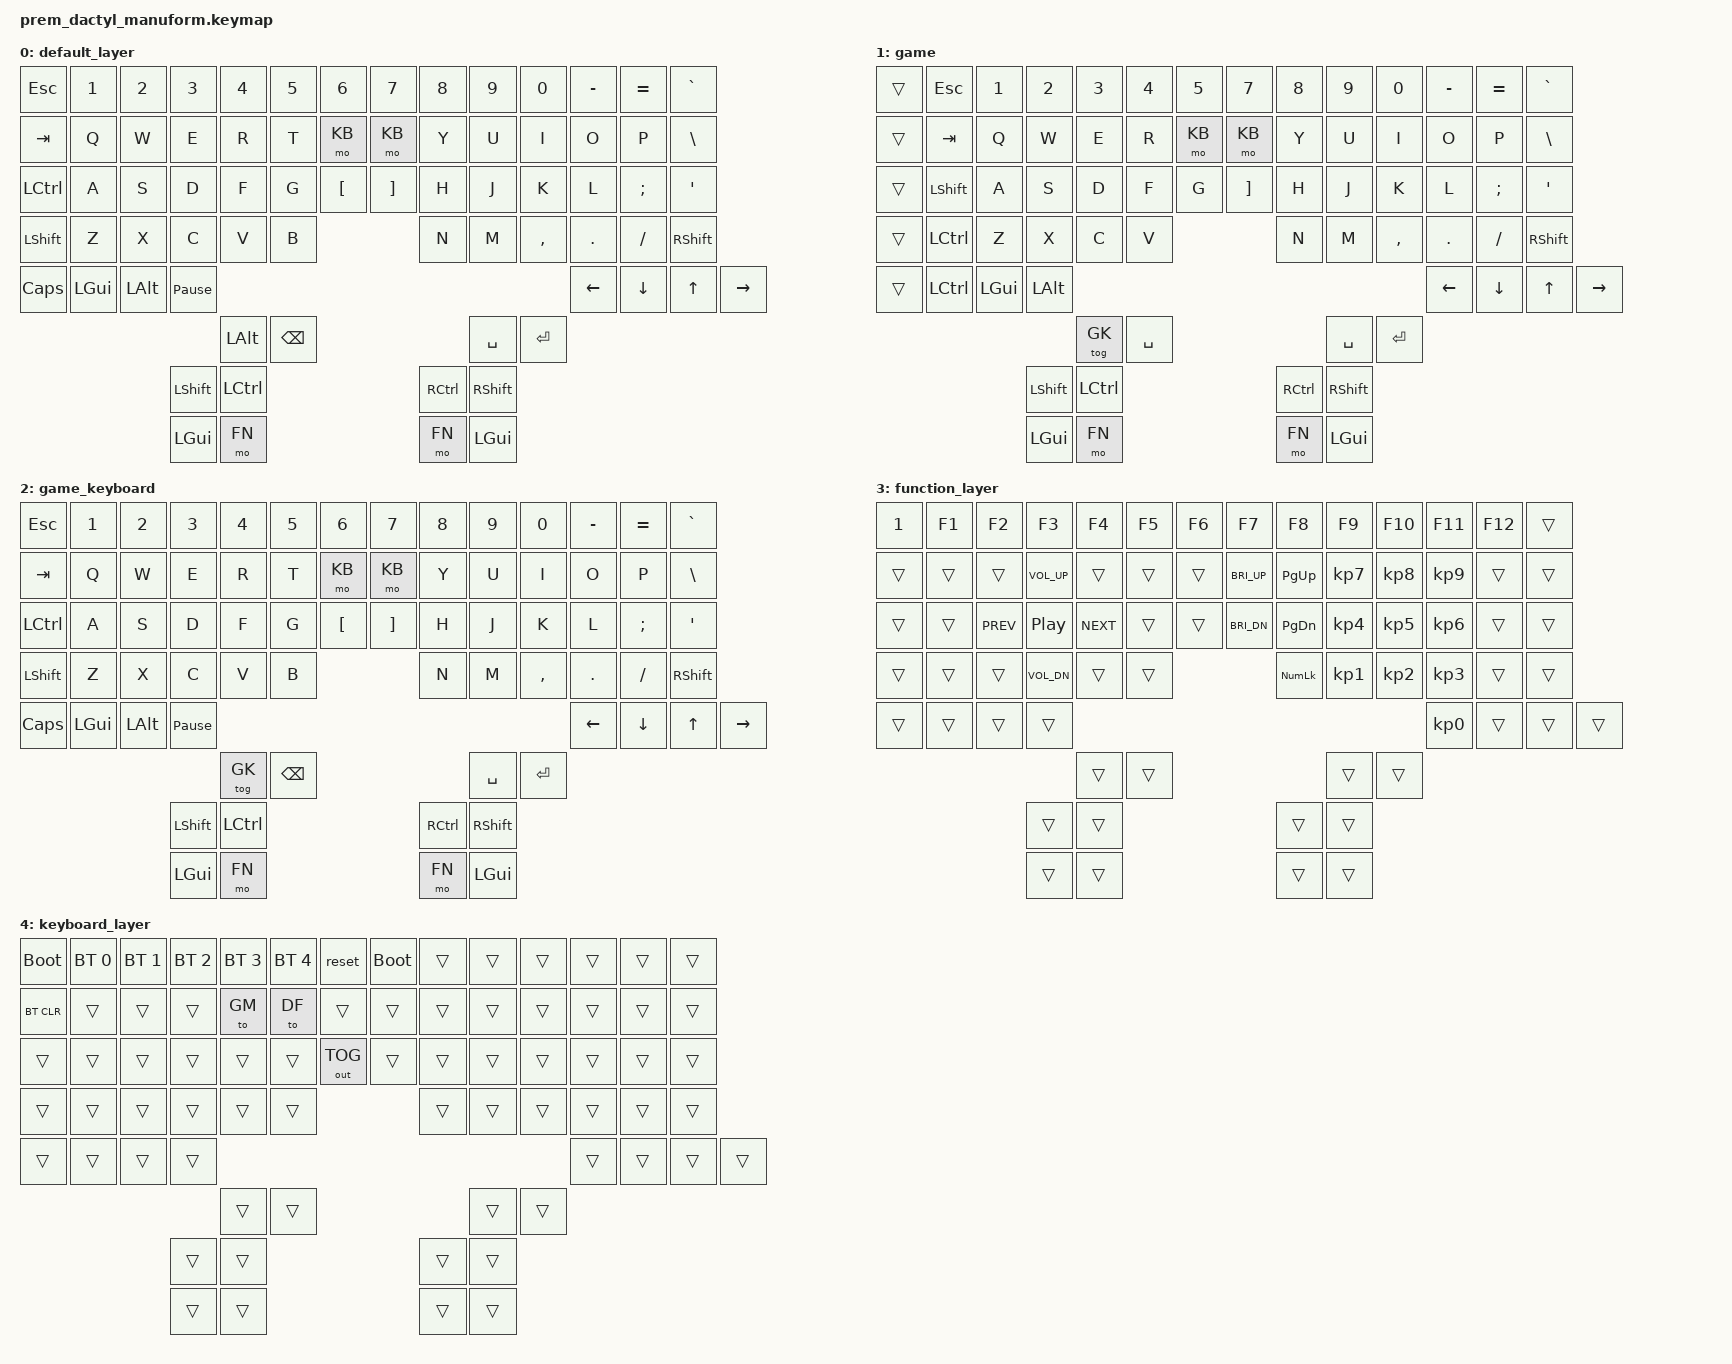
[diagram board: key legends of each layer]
/*
 * Copyright (c) 2020 The ZMK Contributors
 *
 * SPDX-License-Identifier: MIT
 */

#include <behaviors.dtsi>
#include <dt-bindings/zmk/keys.h>
#include <dt-bindings/zmk/bt.h>
#include <dt-bindings/zmk/outputs.h>

#define DF 0
#define GM 1
#define GK 2
#define FN 3
#define KB 4

/ {
        keymap {
                compatible = "zmk,keymap";

                default_layer {
                        bindings = <
&kp ESC    &kp N1    &kp N2    &kp N3  &kp N4    &kp N5    &kp N6          &kp N7    &kp N8    &kp N9    &kp N0    &kp MINUS &kp EQUAL &kp GRAVE
&kp TAB    &kp Q     &kp W     &kp E   &kp R     &kp T     &mo KB          &mo KB    &kp Y     &kp U     &kp I     &kp O     &kp P     &kp BSLH
&kp LCTRL  &kp A     &kp S     &kp D   &kp F     &kp G     &kp LBKT        &kp RBKT  &kp H     &kp J     &kp K     &kp L     &kp SEMI  &kp SQT
&kp LSHFT  &kp Z     &kp X     &kp C   &kp V     &kp B		                           &kp N     &kp M     &kp COMMA &kp DOT   &kp SLASH &kp RSHFT
&kp CAPS   &kp LGUI  &kp LALT  &kp PAUSE_BREAK					                                                 &kp LEFT  &kp DOWN  &kp UP    &kp RIGHT
			                         &kp LALT  &kp BSPC                                    &kp SPACE &kp ENTER
                               &kp LSHFT &kp LCTRL                                   &kp RCTRL &kp RSHFT
                               &kp LGUI  &mo FN	                                     &mo FN    &kp LGUI
                        >;
                };
                game {
                        bindings = <
&trans  &kp ESC    &kp N1    &kp N2    &kp N3  &kp N4    &kp N5                &kp N7   &kp N8   &kp N9   &kp N0    &kp MINUS &kp EQUAL &kp GRAVE
&trans  &kp TAB    &kp Q     &kp W     &kp E   &kp R     &mo KB                &mo KB   &kp Y    &kp U    &kp I     &kp O     &kp P     &kp BSLH
&trans  &kp LSHFT  &kp A     &kp S     &kp D   &kp F     &kp G                 &kp RBKT &kp H    &kp J    &kp K     &kp L     &kp SEMI  &kp SQT
&trans  &kp LCTRL  &kp Z     &kp X     &kp C   &kp V		                        &kp N    &kp M    &kp COMMA &kp DOT   &kp SLASH &kp RSHFT
&trans  &kp LCTRL  &kp LGUI  &kp LALT	      			 	                                  &kp LEFT  &kp DOWN  &kp UP    &kp RIGHT
			               &tog GK &kp SPACE                       &kp SPACE &kp ENTER
                                       &kp LSHFT &kp LCTRL                      &kp RCTRL &kp RSHFT
                                       &kp LGUI  &mo FN	                        &mo FN    &kp LGUI
                        >;
                };
                game_keyboard {
                        bindings = <
&kp ESC    &kp N1    &kp N2    &kp N3  &kp N4    &kp N5    &kp N6          &kp N7    &kp N8    &kp N9    &kp N0    &kp MINUS &kp EQUAL &kp GRAVE
&kp TAB    &kp Q     &kp W     &kp E   &kp R     &kp T     &mo KB          &mo KB    &kp Y     &kp U     &kp I     &kp O     &kp P     &kp BSLH
&kp LCTRL  &kp A     &kp S     &kp D   &kp F     &kp G     &kp LBKT        &kp RBKT  &kp H     &kp J     &kp K     &kp L     &kp SEMI  &kp SQT
&kp LSHFT  &kp Z     &kp X     &kp C   &kp V     &kp B		                           &kp N     &kp M     &kp COMMA &kp DOT   &kp SLASH &kp RSHFT
&kp CAPS   &kp LGUI  &kp LALT  &kp PAUSE_BREAK					                                                 &kp LEFT  &kp DOWN  &kp UP    &kp RIGHT
			                         &tog GK    &kp BSPC                                    &kp SPACE &kp ENTER
                               &kp LSHFT &kp LCTRL                                   &kp RCTRL &kp RSHFT
                               &kp LGUI  &mo FN	                                     &mo FN    &kp LGUI
                        >;
                };

                function_layer {
                        bindings = <
&kp NUM_1 &kp F1  &kp F2     &kp F3       &kp F4     &kp F5 &kp F6           &kp F7       &kp F8    &kp F9    &kp F10    &kp F11    &kp F12    &trans
&trans    &trans  &trans     &kp C_VOL_UP &trans     &trans &trans           &kp C_BRI_UP &kp PG_UP &kp KP_N7 &kp KP_N8  &kp KP_N9  &trans     &trans
&trans    &trans  &kp C_PREV &kp C_PP     &kp C_NEXT &trans &trans           &kp C_BRI_DN &kp PG_DN &kp KP_N4 &kp KP_N5  &kp KP_N6  &trans     &trans
&trans    &trans  &trans     &kp C_VOL_DN &trans     &trans		                            &kp KP_NUM   &kp KP_N1 &kp KP_N2  &kp KP_N3  &trans     &trans
&trans    &trans  &trans     &trans					                                                                  &kp KP_N0  &trans     &trans     &trans
                                                   &trans     &trans                       &trans  &trans
                                                   &trans     &trans                       &trans  &trans
                                                   &trans     &trans                       &trans  &trans
                        >;
                };
                
                keyboard_layer {
                        bindings = <
&bootloader &bt BT_SEL 0 &bt BT_SEL 1 &bt BT_SEL 2 &bt BT_SEL 3 &bt BT_SEL 4 &reset           &bootloader &trans &trans &trans &trans &trans &trans
&bt BT_CLR  &trans       &trans       &trans       &to GM      &to DF       &trans           &trans      &trans &trans &trans &trans &trans &trans
&trans      &trans       &trans       &trans       &trans       &trans       &out OUT_TOG     &trans      &trans &trans &trans &trans &trans &trans
&trans      &trans       &trans       &trans       &trans       &trans		                                &trans &trans &trans &trans &trans &trans
&trans      &trans       &trans       &trans					                                                                  &trans &trans &trans &trans
                                                  &trans     &trans                                       &trans &trans
                                                  &trans     &trans                                       &trans &trans
                                                  &trans     &trans                                       &trans &trans
                        >;
                };

        };
};

